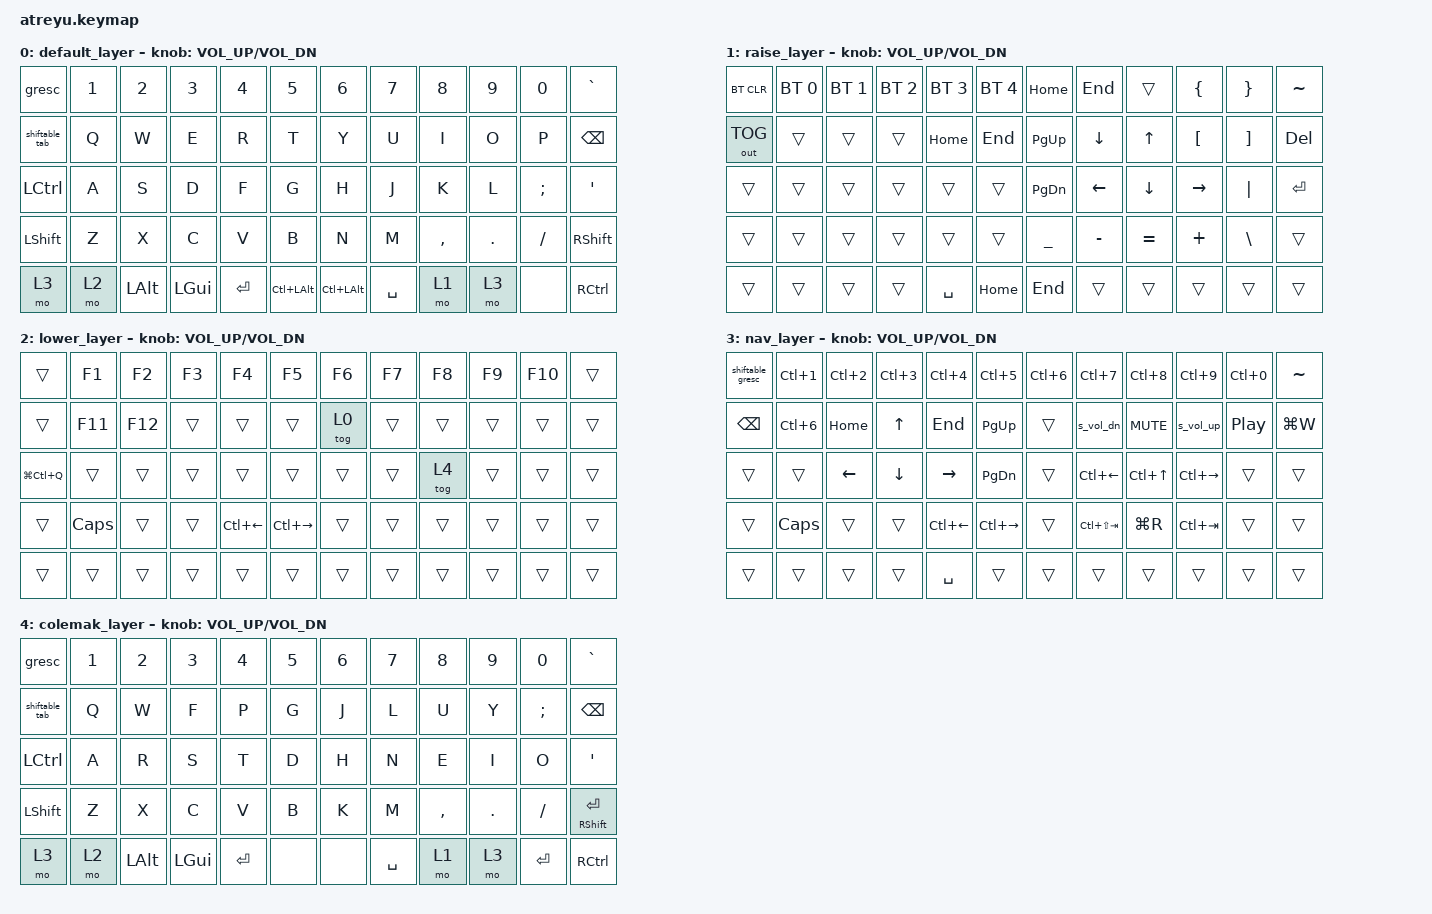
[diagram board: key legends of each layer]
/*
 * Copyright (c) 2020 The ZMK Contributors
 *
 * SPDX-License-Identifier: MIT
 */

#include <behaviors.dtsi>
#include <dt-bindings/zmk/keys.h>
#include <dt-bindings/zmk/bt.h>
#include <dt-bindings/zmk/outputs.h>

/ {
        combos {
            compatible = "zmk,combos";
            combo_c_a_r {
                timeout-ms = <50>;
                key-positions = <31 32>;
                bindings = <&kp LC(LALT)>;
            };
            combo_c_a_l {
                timeout-ms = <50>;
                key-positions = <27 28>;
                bindings = <&kp LC(LALT)>;
            };
        };

	behaviors {
	    s_vol_up: s_vol_up {
		compatible = "zmk,behavior-mod-morph";
		label = "SHIFT_VOLUME_UP";
		#binding-cells = <0>;
		bindings = <&kp C_VOL_UP>, <&kp LA(LS(C_VOL_UP))>;
		mods = <(MOD_LSFT)>;
	    };
	    s_vol_dn: s_vol_dn {
		compatible = "zmk,behavior-mod-morph";
		label = "SHIFT_VOLUME_DOWN";
		#binding-cells = <0>;
		bindings = <&kp C_VOL_DN>, <&kp LA(LS(C_VOL_DN))>;
		mods = <(MOD_LSFT)>;
	    };
	    ctrl_tab: ctrl_tab {
		compatible = "zmk,behavior-mod-morph";
		label = "GUI_CTRL_TAB";
		#binding-cells = <0>;
		bindings = <&kp LC(TAB)>, <&kp LC(LS(TAB))>;
		mods = <(MOD_LGUI)>;
	    };
	    shiftable_tab: shiftable_tab {
		compatible = "zmk,behavior-mod-morph";
		label = "CTRL_TAB";
		#binding-cells = <0>;
		bindings = <&kp TAB >, <&ctrl_tab>;
		mods = <(MOD_LCTL)>;
	    };
            gresc: grave_escape {
                compatible = "zmk,behavior-mod-morph";
                label = "GRAVE_ESCAPE";
                #binding-cells = <0>;
                bindings = <&kp ESC>, <&kp GRAVE>;
                mods = <(MOD_LGUI)>;
    	        keep-mods = <(MOD_LGUI)>;
            };
            shiftable_gresc: shiftable_grave_escape {
                compatible = "zmk,behavior-mod-morph";
                label = "SHIFT_GRAVE_ESCAPE";
                #binding-cells = <0>;
                bindings = <&kp ESC>, <&kp LS(GRAVE)>;
                mods = <(MOD_LGUI)>;
    	        keep-mods = <(MOD_LGUI)>;
            };
	};

//        sensors: sensors {
//            compatible = "zmk,keymap-sensors";
//            sensors = <&left_encoder>;
//            triggers-per-rotation = <36>;
//        };

        keymap {
                compatible = "zmk,keymap";

                default_layer {
                        bindings = <
   &gresc          &kp N1  &kp N2   &kp N3   &kp N4  &kp N5       &kp N6       &kp N7    &kp N8    &kp N9  &kp N0   &kp GRAVE
   &shiftable_tab  &kp Q   &kp W    &kp E    &kp R   &kp T        &kp Y        &kp U     &kp I     &kp O   &kp P    &kp BSPC
   &kp LCTRL       &kp A   &kp S    &kp D    &kp F   &kp G        &kp H        &kp J     &kp K     &kp L   &kp SEMI &kp SQT
   &kp LSHFT       &kp Z   &kp X    &kp C    &kp V   &kp B        &kp N        &kp M     &kp COMMA &kp DOT &kp FSLH &kp RSHFT
   &mo 3           &mo 2   &kp LALT &kp LGUI &kp RET &kp LC(LALT) &kp LC(LALT) &kp SPACE &mo 1     &mo 3   &none    &kp RCTRL
                        >;
			sensor-bindings = <&inc_dec_kp C_VOL_UP C_VOL_DN>;
                };

                raise_layer {
                        bindings = <
   &bt BT_CLR   &bt BT_SEL 0 &bt BT_SEL 1 &bt BT_SEL 2 &bt BT_SEL 3 &bt BT_SEL 4  &kp HOME  &kp END   &trans    &kp LBRC   &kp RBRC  &kp TILDE
   &out OUT_TOG &trans       &trans       &trans       &kp HOME     &kp END       &kp PG_UP &kp DOWN  &kp UP    &kp LBKT   &kp RBKT  &kp DEL
   &trans       &trans       &trans       &trans       &trans       &trans        &kp PG_DN &kp LEFT  &kp DOWN  &kp RIGHT  &kp PIPE  &kp RET
   &trans       &trans       &trans       &trans       &trans       &trans        &kp UNDER &kp MINUS &kp EQUAL &kp PLUS   &kp BSLH  &trans
   &trans       &trans       &trans       &trans       &kp SPACE    &kp HOME      &kp END   &trans    &trans    &trans     &trans    &trans
                        >;
			sensor-bindings = <&inc_dec_kp C_VOL_UP C_VOL_DN>;
                };

                lower_layer {
                        bindings = <
   &trans         &kp F1    &kp F2    &kp F3    &kp F4       &kp F5        &kp F6    &kp F7    &kp F8    &kp F9    &kp F10   &trans
   &trans         &kp F11   &kp F12   &trans    &trans       &trans        &tog 0    &trans    &trans    &trans    &trans    &trans 
   &kp LG(LC(Q))  &trans    &trans    &trans    &trans       &trans        &trans    &trans    &tog 4    &trans    &trans    &trans 
   &trans         &kp CAPS  &trans    &trans    &kp LC(LEFT) &kp LC(RIGHT) &trans    &trans    &trans    &trans    &trans    &trans 
   &trans         &trans    &trans    &trans    &trans       &trans        &trans    &trans    &trans    &trans    &trans    &trans 
                        >;
			sensor-bindings = <&inc_dec_kp C_VOL_UP C_VOL_DN>;
                };

                nav_layer {
                        bindings = <
   &shiftable_gresc  &kp LC(N1) &kp LC(N2) &kp LC(N3) &kp LC(N4)    &kp LC(N5)     &kp LC(N6) &kp LC(N7)      &kp LC(N8) &kp LC(N9)      &kp LC(N0) &kp TILDE
   &kp BSPC          &kp LC(N6) &kp HOME   &kp UP     &kp END       &kp PG_UP      &trans     &s_vol_dn       &kp C_MUTE &s_vol_up       &kp C_PP   &kp LG(W) 
   &trans            &trans     &kp LEFT   &kp DOWN   &kp RIGHT     &kp PG_DN      &trans     &kp LC(LEFT)    &kp LC(UP) &kp LC(RIGHT)   &trans     &trans 
   &trans            &kp CAPS   &trans     &trans     &kp LC(LEFT)  &kp LC(RIGHT)  &trans     &kp LC(LS(TAB)) &kp LG(R)  &kp LC(TAB)     &trans     &trans 
   &trans            &trans     &trans     &trans     &kp SPACE     &trans         &trans     &trans          &trans     &trans          &trans     &trans 
                        >;
			sensor-bindings = <&inc_dec_kp C_VOL_UP C_VOL_DN>;
                };
		colemak_layer {
                        bindings = <
   &gresc          &kp N1  &kp N2   &kp N3   &kp N4  &kp N5    &kp N6 &kp N7    &kp N8    &kp N9  &kp N0   &kp GRAVE
   &shiftable_tab  &kp Q   &kp W    &kp F    &kp P   &kp G     &kp J  &kp L     &kp U     &kp Y   &kp SEMI &kp BSPC
   &kp LCTRL       &kp A   &kp R    &kp S    &kp T   &kp D     &kp H  &kp N     &kp E     &kp I   &kp O    &kp SQT
   &kp LSHFT       &kp Z   &kp X    &kp C    &kp V   &kp B     &kp K  &kp M     &kp COMMA &kp DOT &kp FSLH &mt RSHFT RET
   &mo 3           &mo 2   &kp LALT &kp LGUI &kp RET &none     &none  &kp SPACE &mo 1     &mo 3   &kp RET  &kp RCTRL
                        >;
			//sensor-bindings = <&inc_dec_kp C_VOL_UP C_VOL_DN &inc_dec_kp PG_UP PG_DN>;
			sensor-bindings = <&inc_dec_kp C_VOL_UP C_VOL_DN>;
                };

//  [_COLEMAK] = LAYOUT( \
//       KC_ESC,   KC_1,    KC_2,    KC_3,    KC_4,    KC_5,                       KC_6,    KC_7,    KC_8,    KC_9,    KC_0,    KC_GRV,
//       KC_TAB,   KC_Q,    KC_W,    KC_F,    KC_P,    KC_G,                       KC_J,    KC_L,    KC_U,    KC_Y,    KC_SCLN, KC_BSPC,
//       KC_LCTL,  KC_A,    KC_R,    KC_S,    KC_T,    KC_D,                       KC_H,    KC_N,    KC_E,    KC_I,    KC_O,    LT(_SYM,KC_QUOT),
//       KC_LSFT,  KC_Z,    KC_X,    KC_C,    KC_V,    KC_B,                       KC_K,    KC_M,    KC_COMM, KC_DOT,  KC_SLSH, KC_RSFT,
//       NAV,      LWR,     KC_LALT, KC_LGUI, KC_ENT,  KC_LBRC,                    KC_RBRC, KC_SPC,  RSE,     NAV,  KC_NUM,  KC_RCTL
//  ),

        };
};
